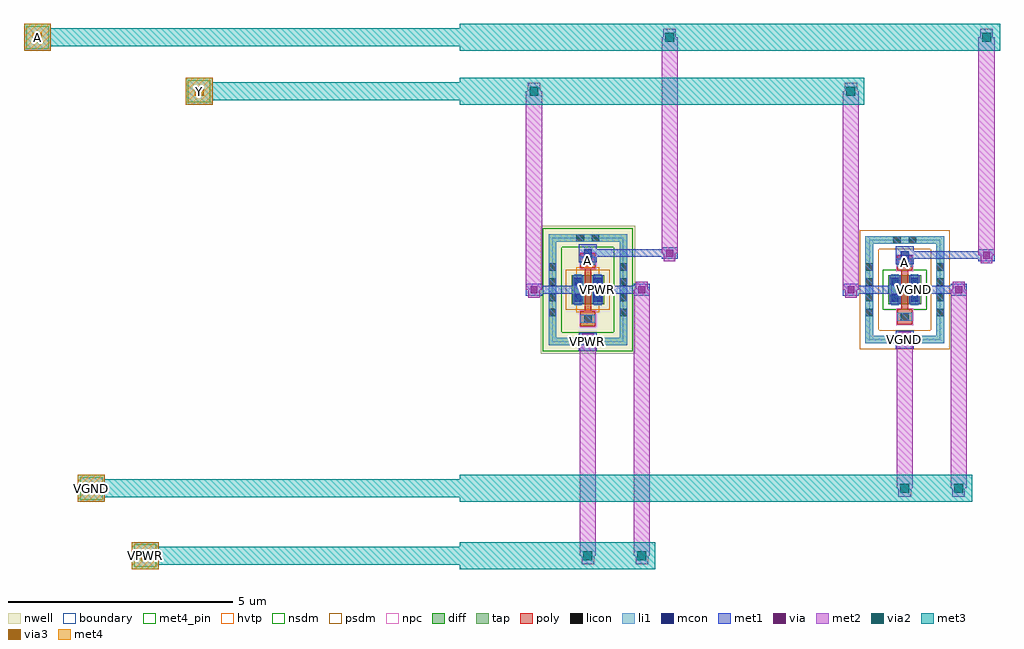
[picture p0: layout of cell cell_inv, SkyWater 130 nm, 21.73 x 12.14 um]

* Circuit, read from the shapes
.subckt cell_inv A VGND VPWR Y
XM1 VGND A Y VGND sky130_fd_pr__nfet_01v8 w=0.65 l=0.15
XM2 VPWR A Y VPWR sky130_fd_pr__pfet_01v8_hvt w=0.65 l=0.15
.ends

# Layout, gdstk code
import gdstk
lib = gdstk.Library(unit=1e-6, precision=1e-09)
def R(c, l, rs):  # rectangles x0, y0, x1, y1
    for r in rs: c.add(gdstk.rectangle(r[:2], r[2:], *l))
def A(c, l, x, y, w, h, nx, ny, dx, dy):  # array of equal rectangles
    R(c, l, [(x+i*dx, y+j*dy, x+i*dx+w, y+j*dy+h) for i in range(nx) for j in range(ny)])
def P(c, l, *ps):  # polygons
    for p in ps: c.add(gdstk.Polygon(p, *l))
nwell = (64, 20)
diff = (65, 20)
tap = (65, 44)
poly = (66, 20)
licon = (66, 44)
li1 = (67, 20)
mcon = (67, 44)
met1 = (68, 20)
via = (68, 44)
met2 = (69, 20)
via2 = (69, 44)
met3 = (70, 20)
via3 = (70, 44)
met4_pin = (71, 16)
met4 = (71, 20)
hvtp = (78, 44)
nsdm = (93, 44)
psdm = (94, 20)
npc = (95, 20)
boundary = (235, 4)

cell_inv = lib.new_cell('cell_inv')
R(cell_inv, nwell, [(21.8,14.8,23.91,17.64)])
R(cell_inv, diff, [(22.49,15.895,23.22,16.545), (29.545,15.895,30.275,16.545)])
R(cell_inv, tap, [(21.98,14.98,23.73,15.15), (29.035,15.025,30.785,15.195), (21.98,15.15,22.15,17.29), (23.56,15.15,23.73,17.29), (29.035,15.195,29.205,17.245), (30.615,15.195,30.785,17.245), (29.035,17.245,30.785,17.415), (21.98,17.29,23.73,17.46)])
R(cell_inv, poly, [(22.69,15.41,23.02,15.74), (29.745,15.455,30.075,15.785), (22.78,15.74,22.93,16.7), (29.835,15.785,29.985,16.655), (29.745,16.655,30.075,16.985), (22.69,16.7,23.02,17.03)])
A(cell_inv, licon, 21.98, 15.625, 0.17, 0.17, 1, 4, 0, 0.34)
A(cell_inv, licon, 23.56, 15.625, 0.17, 0.17, 1, 4, 0, 0.34)
A(cell_inv, licon, 29.035, 15.625, 0.17, 0.17, 1, 4, 0, 0.34)
A(cell_inv, licon, 30.615, 15.625, 0.17, 0.17, 1, 4, 0, 0.34)
R(cell_inv, licon, [(22.6,14.98,22.77,15.15), (22.94,14.98,23.11,15.15), (29.655,15.025,29.825,15.195), (29.995,15.025,30.165,15.195), (22.77,15.49,22.94,15.66), (29.825,15.535,29.995,15.705), (22.55,15.965,22.72,16.135), (22.99,15.965,23.16,16.135), (29.605,15.965,29.775,16.135), (30.045,15.965,30.215,16.135), (22.55,16.305,22.72,16.475), (22.99,16.305,23.16,16.475), (29.605,16.305,29.775,16.475), (30.045,16.305,30.215,16.475), (29.825,16.735,29.995,16.905), (22.77,16.78,22.94,16.95), (29.655,17.245,29.825,17.415), (29.995,17.245,30.165,17.415), (22.6,17.29,22.77,17.46), (22.94,17.29,23.11,17.46)])
R(cell_inv, li1, [(21.98,14.98,23.73,15.15), (29.035,15.025,30.785,15.195), (21.98,15.15,22.15,17.29), (23.56,15.15,23.73,17.29), (29.035,15.195,29.205,17.245), (30.615,15.195,30.785,17.245), (22.69,15.49,23.02,15.66), (29.745,15.535,30.075,15.705), (22.55,15.875,22.72,16.565), (22.99,15.875,23.16,16.565), (29.605,15.875,29.775,16.565), (30.045,15.875,30.215,16.565), (29.745,16.735,30.075,16.905), (29.825,16.735,29.995,17.075), (22.69,16.78,23.02,16.95), (22.77,16.78,22.94,17.12), (29.035,17.245,30.785,17.415), (21.98,17.29,23.73,17.46)])
R(cell_inv, mcon, [(22.77,14.98,22.94,15.15), (29.825,15.025,29.995,15.195), (22.55,15.955,22.72,16.125), (22.99,15.955,23.16,16.125), (29.605,15.955,29.775,16.125), (30.045,15.955,30.215,16.125), (22.55,16.315,22.72,16.485), (22.99,16.315,23.16,16.485), (29.605,16.315,29.775,16.485), (30.045,16.315,30.215,16.485), (29.825,16.905,29.995,17.075), (22.77,16.95,22.94,17.12)])
R(cell_inv, met1, [(22.655,14.865,23.055,15.265), (29.71,14.91,30.11,15.31), (22.675,14.935,23.035,15.195), (29.73,14.98,30.09,15.24), (22.52,15.895,22.75,16.545), (22.96,15.895,23.19,16.545), (29.575,15.895,29.805,16.545), (30.015,15.895,30.245,16.545), (21.475,16.09,21.835,16.35), (23.875,16.09,24.235,16.35), (28.53,16.09,28.89,16.35), (30.93,16.09,31.29,16.35), (21.655,16.135,22.635,16.305), (23.075,16.135,24.055,16.305), (28.71,16.135,29.69,16.305), (30.13,16.135,31.11,16.305), (29.71,16.79,30.11,17.19), (22.655,16.835,23.055,17.235), (31.55,16.86,31.91,17.12), (24.495,16.905,24.855,17.165), (29.91,16.905,31.73,17.075), (22.855,16.95,24.675,17.12)])
P(cell_inv, met1, [(29.91,15.025),(29.91,15.195),(29.91,15.195),(29.91,15.025)],
  [(22.855,14.98),(22.855,15.15),(22.855,15.15),(22.855,14.98)])
R(cell_inv, via, [(22.78,14.99,22.93,15.14), (29.835,15.035,29.985,15.185), (21.58,16.145,21.73,16.295), (23.98,16.145,24.13,16.295), (28.635,16.145,28.785,16.295), (31.035,16.145,31.185,16.295), (31.655,16.915,31.805,17.065), (24.6,16.96,24.75,17.11)])
R(cell_inv, met2, [(22.715,10.11,22.995,10.49), (23.915,10.11,24.195,10.49), (22.675,10.3,23.035,15.065), (23.875,10.3,24.235,16.22), (29.77,11.61,30.05,11.99), (30.97,11.61,31.25,11.99), (29.73,11.8,30.09,15.11), (30.93,11.8,31.29,16.22), (22.725,14.885,22.985,15.245), (29.78,14.93,30.04,15.29), (21.525,16.04,21.785,16.4), (23.925,16.04,24.185,16.4), (28.58,16.04,28.84,16.4), (30.98,16.04,31.24,16.4), (21.475,16.22,21.835,20.64), (28.53,16.22,28.89,20.64), (31.6,16.81,31.86,17.17), (24.545,16.855,24.805,17.215), (31.55,16.99,31.91,21.84), (24.495,17.035,24.855,21.84), (21.515,20.45,21.795,20.83), (28.57,20.45,28.85,20.83), (24.535,21.65,24.815,22.03), (31.59,21.65,31.87,22.03)])
R(cell_inv, via2, [(22.755,10.2,22.955,10.4), (23.955,10.2,24.155,10.4), (29.81,11.7,30.01,11.9), (31.01,11.7,31.21,11.9), (21.555,20.54,21.755,20.74), (28.61,20.54,28.81,20.74), (24.575,21.74,24.775,21.94), (31.63,21.74,31.83,21.94)])
R(cell_inv, met3, [(12.7,10,13.3,10.6), (20,10,24.355,10.6), (22.605,10.05,23.105,10.55), (23.805,10.05,24.305,10.55), (11.5,11.5,12.1,12.1), (20,11.5,31.41,12.1), (29.66,11.55,30.16,12.05), (30.86,11.55,31.36,12.05), (13.9,20.34,14.5,20.94), (20,20.34,29.01,20.94), (21.405,20.39,21.905,20.89), (28.46,20.39,28.96,20.89), (10.3,21.54,10.9,22.14), (20,21.54,32.03,22.14), (24.425,21.59,24.925,22.09), (31.48,21.59,31.98,22.09)])
R(cell_inv, via3, [(12.9,10.2,13.1,10.4), (11.7,11.7,11.9,11.9), (14.1,20.54,14.3,20.74), (10.5,21.74,10.7,21.94)])
R(cell_inv, met4_pin, [(12.75,10.05,13.25,10.55), (11.55,11.55,12.05,12.05), (13.95,20.39,14.45,20.89), (10.35,21.59,10.85,22.09)])
R(cell_inv, met4, [(12.7,10,13.3,10.6), (12.75,10,13.25,10.6), (11.5,11.5,12.1,12.1), (11.55,11.5,12.05,12.1), (13.9,20.34,14.5,20.94), (13.95,20.34,14.45,20.94), (10.3,21.54,10.9,22.14), (10.35,21.54,10.85,22.14)])
R(cell_inv, hvtp, [(22.6,15.715,23.11,16.725)])
R(cell_inv, nsdm, [(21.855,14.855,23.855,15.275), (21.855,15.275,22.275,17.165), (23.435,15.275,23.855,17.165), (29.42,15.77,30.4,16.67), (21.855,17.165,23.855,17.585)])
R(cell_inv, psdm, [(28.91,14.9,30.91,15.32), (28.91,15.32,29.33,17.12), (30.49,15.32,30.91,17.12), (22.365,15.77,23.345,16.67), (28.91,17.12,30.91,17.54)])
R(cell_inv, npc, [(22.67,15.39,23.04,15.76), (29.725,15.435,30.095,15.805), (29.725,16.635,30.095,17.005), (22.67,16.68,23.04,17.05)])
R(cell_inv, boundary, [(22.065,15.065,23.645,17.375), (29.12,15.11,30.7,17.33)])
cell_inv.add(gdstk.FlexPath([(14.2,20.64),(20,20.64)], 0.4, ends="flush", simple_path=True, layer=70, datatype=20))  # met3
cell_inv.add(gdstk.FlexPath([(13,10.3),(20,10.3)], 0.4, ends="flush", simple_path=True, layer=70, datatype=20))  # met3
cell_inv.add(gdstk.FlexPath([(11.8,11.8),(20,11.8)], 0.4, ends="flush", simple_path=True, layer=70, datatype=20))  # met3
cell_inv.add(gdstk.FlexPath([(10.6,21.84),(20,21.84)], 0.4, ends="flush", simple_path=True, layer=70, datatype=20))  # met3
cell_inv.add(gdstk.Label('A', (29.91,16.82), layer=67, texttype=5))
cell_inv.add(gdstk.Label('VGND', (30.13,16.22), layer=67, texttype=5))
cell_inv.add(gdstk.Label('Y', (29.69,16.22), layer=67, texttype=5))
cell_inv.add(gdstk.Label('VGND', (29.91,15.11), layer=67, texttype=5))
cell_inv.add(gdstk.Label('A', (22.855,16.865), layer=67, texttype=5))
cell_inv.add(gdstk.Label('VPWR', (23.075,16.22), layer=67, texttype=5))
cell_inv.add(gdstk.Label('Y', (22.635,16.22), layer=67, texttype=5))
cell_inv.add(gdstk.Label('VPWR', (22.855,15.065), layer=67, texttype=5))
cell_inv.add(gdstk.Label('Y', (14.2,20.64), layer=71, texttype=5))
cell_inv.add(gdstk.Label('VPWR', (13,10.3), layer=71, texttype=5))
cell_inv.add(gdstk.Label('VGND', (11.8,11.8), layer=71, texttype=5))
cell_inv.add(gdstk.Label('A', (10.6,21.84), layer=71, texttype=5))

lib.write_gds('cell_inv.gds')
